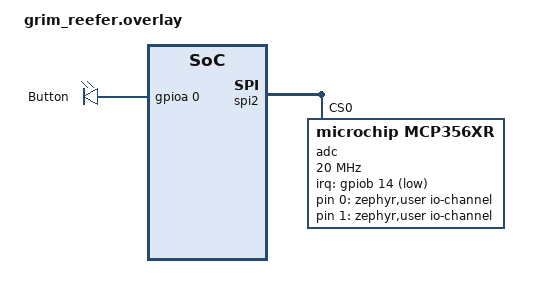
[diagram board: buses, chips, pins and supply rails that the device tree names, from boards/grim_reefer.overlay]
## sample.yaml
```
sample:
  description:
  name: solids_board
common:
  build_only: true
  platform_allow:
    - grim_reefer
tests:
  solids_test.default: {}
```

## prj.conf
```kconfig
CONFIG_SENSOR=y
CONFIG_SENSOR_SHELL=y
CONFIG_SPEED_OPTIMIZATIONS=y
CONFIG_SYS_CLOCK_TICKS_PER_SEC=100000

CONFIG_EVENTS=y
CONFIG_BASE64=y

# Logging
CONFIG_LOG=y
CONFIG_LOG_MODE_IMMEDIATE=n
CONFIG_CRC=y

# GPIO and bus enables
CONFIG_GPIO=y
CONFIG_I2C=y
CONFIG_SPI=y
CONFIG_SPI_STM32_DMA=y

# ADC + sensor enables
CONFIG_ADC=y
CONFIG_ADC_LOG_LEVEL_ERR=y # Will spam annoying error at wrn level

CONFIG_ADC_MCP356XR=y
CONFIG_ADC_MCP356XR_THREAD_STACK_SIZE=2048
CONFIG_ADC_MCP356XR_THREAD_PRIORITY=21
CONFIG_INA260=y

CONFIG_SPI_NOR_SFDP_RUNTIME=y
CONFIG_SPI_NOR_SLEEP_ERASE_MS=10

# Flash + file system
CONFIG_FLASH=y
CONFIG_FLASH_MAP=y
CONFIG_FLASH_PAGE_LAYOUT=y
CONFIG_DISK_ACCESS=y
CONFIG_FILE_SYSTEM=y

# Data dumping
CONFIG_SHELL=y
CONFIG_FLASH_SHELL=y
CONFIG_SHELL_BACKEND_SERIAL=y
CONFIG_UART_CONSOLE=y

CONFIG_SERIAL=y
CONFIG_UART_INTERRUPT_DRIVEN=y
CONFIG_CBPRINTF_FP_SUPPORT=y
```

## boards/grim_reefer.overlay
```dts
/delete-node/ &adc;

/ {
    zephyr,user {
        io-channels = <&adc 0>, <&adc 1>;
    };

    aliases {
        adc0 = &adc;
        buzzer = &buzzer;
    };

    leds: leds {
        button: button{ // TX
            gpios = <&gpioa 0 (GPIO_ACTIVE_HIGH | GPIO_PULL_DOWN)>;
            label = "Button";
        };
    };
};

// https://docs.zephyrproject.org/latest/build/dts/api/bindings/clock/pwm-clock.html
// init pwm

&uart4 {
    status = "disabled";
};

&spi2 {
    status = "okay";
    adc: mcp3561@0 { // new and cool driver
        #io-channel-cells = <1>;
        #address-cells = <1>;
        #size-cells = <0>;
        compatible = "microchip,mcp356xr";
        status = "okay";
        reg = <0>;
        address = <1>;
        analog-clock-prescaler = <0>;
        boost-current-bias = <0>;
        spi-max-frequency = <DT_FREQ_M(20)>;
        irq-gpios = <&gpiob 14 GPIO_ACTIVE_LOW>;
        use-internal-clock;

        loadcell: channel@0 {
            reg = <0>;
            zephyr,gain = "ADC_GAIN_32";
            zephyr,reference = "ADC_REF_INTERNAL";
            zephyr,acquisition-time = <ADC_ACQ_TIME_DEFAULT>;

            zephyr,resolution = <24>;

            zephyr,differential;
            zephyr,input-positive = <0x1>;
            zephyr,input-negative = <0x0>;

            zephyr,oversampling = <7>;
        };

        pressure_transducer: channel@1 {
            reg = <1>;
            zephyr,gain = "ADC_GAIN_32";
            zephyr,reference = "ADC_REF_INTERNAL";
            zephyr,acquisition-time = <ADC_ACQ_TIME_DEFAULT>;

            zephyr,resolution = <24>;

            zephyr,differential;
            zephyr,input-positive = <0x0>;
            zephyr,input-negative = <0x8>; // internal ground

            zephyr,oversampling = <7>;
        };

    };
};
```

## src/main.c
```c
#include "adc_reading.h"
#include "flash_storage.h"
#include "buzzer.h"
#include "button.h"
#include "config.h"

#include <zephyr/logging/log.h>
#include <zephyr/init.h>

LOG_MODULE_REGISTER(main, LOG_LEVEL_INF);

// APPLICATION: Executed just before application code (main)
SYS_INIT(buzzer_init, APPLICATION, SYS_INIT_PRIORITY);
SYS_INIT(button_switch_init, APPLICATION, SYS_INIT_PRIORITY);

K_THREAD_DEFINE(adc_thread, 1024, adc_reading_task, NULL, NULL, NULL, 15, 0, THREAD_START_DELAY);
K_THREAD_DEFINE(storage_thread, 2048, flash_storage_thread_entry, NULL, NULL, NULL, STORAGE_THREAD_PRIORITY, 0, 1000);

int main(void) {
	LOG_INF("Solids Test Start");
	LOG_INF("Use 'test start [calibration name]' to begin test");
    LOG_INF("Use 'test help' to see all available commands");
	return 0;
}
```

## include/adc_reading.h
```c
#ifndef ADC_READING_H
#define ADC_READING_H

#include <stdint.h>
#include <stdbool.h>

/**
 * @brief Struct to hold one ADC sample
 */
struct adc_sample {
    uint32_t timestamp; /** Timestamp the sample was recorded in µs */
    int32_t value;      /** Value of the sample */
};

/**
 * @brief Read one ADC sample
 * @param[out] adc_val Pointer to value where sample will be written
 */
void adc_read_one(uint32_t *adc_val);

/**
 * @brief Waits for ADC reading event to start, then reads ADC samples for 10 seconds
 */
void adc_reading_task(void*, void*, void*);

/**
 * @brief Starts test
 * @param[in] terminal_test Whether test was triggered by terminal cmd or meep
 *                      If test was triggered by terminal, ematch will NOT light
 */
void adc_start_reading(bool terminal_test);

/**
 * @brief Stops test
 */
void adc_stop_recording();

#endif // ADC_READING_H
```

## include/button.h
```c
#ifndef BUTTON_H
#define BUTTON_H

#include <zephyr/drivers/gpio.h>
#include <zephyr/device.h>
#include <stdint.h>

/**
 * @brief Configures TX and RX pins as gpio
 * @return 0 if successful
 */
int button_switch_init();

#endif // BUTTON_H
```

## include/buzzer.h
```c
#ifndef BUZZER_H
#define BUZZER_H

/**
 * @brief Configure buzzer and ldo gpio pins
 * @return 0 if successful
 */
int buzzer_init();

/**
 * @brief Start or stop buzzer
 * @param[in] which Value to set buzzer
 */
void set_buzz(int which);

/**
 * @brief Set ematch gpio pin
 * @param[in] level Value to assign to pin
 */
void set_ematch(int level);

/**
 * @brief Set ldo gpio pin
 * @param[in] level Value to assign to pin
 */
void set_ldo(int level);

/**
 * @brief Beep loudly in 1 second intervals for 10 seconds to indicate that flash is full (max tests reached)
 */
void beep_full();

/**
 * @brief Beep loudly 3 times to indicate test start
 */
void test_start_beep();

/**
 * @brief Beep loudly 2 times to indicate test end
 */
void test_end_beep();

/**
 * @brief Beep until test starts
 */
void continuous_beep();

#endif // BUZZER_H
```

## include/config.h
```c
#ifndef CONFIG_H
#define CONFIG_H

#define SAMPLE_RATE 1000
#define TEST_DURATION 10000 // ms
#define MAX_TESTS 30
#define CALIB_NAME_MAX_LEN 32 // If solids members need more than 32 characters then they need better naming standards

#define STORAGE_THREAD_PRIORITY 1
#define THREAD_START_DELAY 100
#define SYS_INIT_PRIORITY 1

#endif // CONFIG_H
```

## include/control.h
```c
#ifndef CONTROL_H
#define CONTROL_H

#include <stdbool.h>
#include <zephyr/shell/shell.h>

/**
 * @brief Starts flash storage and ADC reading
 * @param[in] calib_name Name of calibration to store in flash storage
 * @param[in] terminal_test Whether test was triggered by terminal cmd or meep
 */
void control_start_test(char calib_name[], bool terminal_test);

/**
 * @brief Stops flash storage and ADC reading
 */
void control_stop_test();

/**
 * @brief Reads and prints n number of ADC samples
 * @param[in] shell Pointer to shell instance
 * @param[in] num Number of samples to read
 */
void control_print_n(const struct shell *shell, int num);

/**
 * @brief Dumps all ADC data from flash storage
 * @param[in] shell Pointer to shell instance
 */
void control_dump_data(const struct shell *shell);

/**
 * @brief Dumps one ADC test from flash storage
 * @param[in] shell Pointer to shell instance
 * @param[in] test_index The test number to dump
 */
void control_dump_one(const struct shell *shell, uint32_t test_index);

/**
 * @brief Clear all flash blocks
 * @param[in] shell Pointer to shell instance
 */
void control_erase_all(const struct shell *shell);

/**
 * @brief Set ematch gpio high
 * @param[in] shell Pointer to shell instance
 */
void control_set_ematch(const struct shell *shell);

/**
 * @brief Set ematch gpio low
 * @param[in] shell Pointer to shell instance
 */
void control_stop_ematch(const struct shell *shell);

/**
 * @brief Get status of test
 * @return Whether a test is running or not
 */
bool control_get_test_status();

#endif // CONTROL_H
```

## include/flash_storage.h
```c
#ifndef FLASH_STORAGE_H
#define FLASH_STORAGE_H

#include <zephyr/shell/shell.h>
#include <stdint.h>

/**
 * @brief Thread to save test data to flash storage
 */
void flash_storage_thread_entry(void*, void*, void*);

/**
 * @brief Begin flash storage event
 * @param[in] calib_name Name of calibration to store. Defaults to "Test [#]" if empty or default string passed in
 * @param[in] terminal_test Whether test was triggered by terminal cmd or meep
 * @return 0 if successful
 */
int start_flash_storage(char calib_name[], bool terminal_test);

/**
 * @brief End flash storage event
 */
void stop_flash_storage();

/**
 * @brief Dumps one ADC test from flash storage
 * @param[in] shell Pointer to shell instance
 * @param[in] test_index The test number to dump
 * @return 0 if successful
 */
int flash_dump_one(const struct shell *shell, uint32_t test_index);

/**
 * @brief Dumps all ADC data from flash storage
 * @param[in] shell Pointer to shell instance
 * @return 0 if successful
 */
int flash_dump_all(const struct shell *shell);

/**
 * @brief Clear all flash blocks
 * @param[in] shell Pointer to shell instance
 * @return 0 if successful
 */
int flash_erase_all(const struct shell *shell);

/**
 * @brief Get the channel number stored in flash
 * @return the index of the ADC channel that this device was configured with
 */
uint8_t flash_get_metadata_channel();
int flash_set_channel(uint8_t channel_num);
extern struct k_msgq storage_control_queue;

#endif // FLASH_STORAGE_H
```

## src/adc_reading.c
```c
#include "adc_reading.h"

#include "buzzer.h"
#include "config.h"
#include "control.h"
#include "flash_storage.h"

#include <stdbool.h>
#include <stdint.h>
#include <stdio.h>
#include <zephyr/devicetree.h>
#include <zephyr/drivers/adc.h>
#include <zephyr/kernel.h>
#include <zephyr/logging/log.h>

LOG_MODULE_REGISTER(adc_reader, LOG_LEVEL_INF);

#define ADC_NODE DT_ALIAS(adc0)

#if !DT_NODE_HAS_STATUS(ADC_NODE, okay)
#error "No ADC node found"
#endif

static const struct device *adc_dev = DEVICE_DT_GET(ADC_NODE);

extern struct k_msgq adc_data_queue;

#define BEGIN_READING_EVENT 1
#define STOP_READING_EVENT  2

static K_EVENT_DEFINE(adc_control_event);
static K_TIMER_DEFINE(adc_timer, NULL, NULL);

void adc_reading_task(void *, void *, void *);

static uint32_t adc_buffer;
static struct adc_sequence sequence = {.buffer = &adc_buffer, .buffer_size = sizeof(adc_buffer), .resolution = 24};
static bool terminal = true;

#define DT_SPEC_AND_COMMA(node_id, prop, idx) ADC_DT_SPEC_GET_BY_IDX(node_id, idx),

static const struct adc_dt_spec adc_channels[] = {
    DT_FOREACH_PROP_ELEM(DT_PATH(zephyr_user), io_channels, DT_SPEC_AND_COMMA)};

static const uint32_t num_channels = sizeof(adc_channels) / sizeof(struct adc_dt_spec);

int adc_init(uint8_t channel_num) {
    if (channel_num >= num_channels){
        LOG_ERR("Invalid channel");
        return -1;
    }
    const struct adc_dt_spec *selected_channel = &adc_channels[channel_num];

    if (!adc_is_ready_dt(selected_channel)) {
        LOG_ERR("ADC controller device %s not ready\n", selected_channel->dev->name);
        return -1;
    }

    int err = adc_channel_setup_dt(selected_channel);
    if (err < 0) {
        LOG_ERR("Could not setup channel (%d)\n", err);
        return -1;
    }

    (void) adc_sequence_init_dt(selected_channel, &sequence);

    LOG_INF("ADC initialized");
    return 0;
}

void adc_read_one(uint32_t *adc_val) {
    sequence.buffer = adc_val;
    sequence.buffer_size = sizeof(*adc_val);

    int ret = adc_read(adc_dev, &sequence);
    if (ret < 0) {
        LOG_ERR("ADC read failed (%d)", ret);
        return;
    }
}

void adc_reading_task(void *, void *, void *) {
    uint32_t adc_val = 0;
    struct adc_sample sample = {0};
    while (true) {
        LOG_INF("ADC reading task waiting to start...");

        // Wait for start event
        k_event_wait(&adc_control_event, BEGIN_READING_EVENT, true, K_FOREVER);

        uint8_t channel = flash_get_metadata_channel();
        adc_init(channel);
        LOG_INF("ADC reading started");
        set_ldo(1);
        // Delay test 2 seconds, beep when test actually starts
        k_msleep(2000);
        test_start_beep();

        k_timer_start(&adc_timer, K_USEC(SAMPLE_RATE), K_USEC(SAMPLE_RATE));

        int x = 0;
        uint32_t dropped_samples = 0;
        uint64_t total_adc_ticks = 0;
        uint64_t total_loop_ticks = 0;
        uint32_t num_missed_expires = 0;
        uint64_t start_time_ticks = k_uptime_ticks();

        while (true) {
            uint32_t start_loop_ticks = k_uptime_ticks();
            uint32_t events =
                k_event_wait(&adc_control_event, BEGIN_READING_EVENT | STOP_READING_EVENT, false, K_NO_WAIT);
            if (events & STOP_READING_EVENT) {
                break;
            }

            uint32_t num_expiries = k_timer_status_get(&adc_timer);
            if (num_expiries == 0) { // timer still running
                k_timer_status_sync(&adc_timer);
            } else { // timer expired
                num_missed_expires += num_expiries - 1;
            }

            // Only set off ematch if test is triggered by meep
            if (!terminal) {
                if (x == 500) {
                    set_ematch(1);
                } else if (x == 900) {
                    set_ematch(0);
                }
            }

            // Read from ADC
            uint32_t start_read = k_uptime_ticks();
            adc_read_one(&adc_val);
            total_adc_ticks += k_uptime_ticks() - start_read;

            sample.timestamp = k_ticks_to_us_near32(k_uptime_ticks() - start_time_ticks);
            sample.value = adc_val;

            if (k_msgq_put(&adc_data_queue, &sample, K_NO_WAIT) != 0) {
                dropped_samples++;
            }
            x++;
            total_loop_ticks += k_uptime_ticks() - start_loop_ticks;

            // Stop test after 10 seconds
            if ((k_ticks_to_ms_near32(k_uptime_ticks()) - k_ticks_to_ms_near32(start_time_ticks)) >= TEST_DURATION) {
                control_stop_test();
                break;
            }
        }

        set_ldo(0);
        k_timer_stop(&adc_timer);
        LOG_INF("number of samples: %d, %u missed, %u dropped, read time %llu, ms per = %.2f, loop time: %llu, loop "
                "time ticks: %llu",
                x, num_missed_expires, dropped_samples, k_ticks_to_ms_near64(total_adc_ticks),
                (double) k_ticks_to_ms_near64(total_adc_ticks) / (double) x, k_ticks_to_ms_near64(total_loop_ticks),
                total_loop_ticks);
        test_end_beep();
    }
}

void adc_start_reading(bool terminal_test) {
    terminal = terminal_test; // Whether test was triggered by terminal command or meep
    k_event_set(&adc_control_event, BEGIN_READING_EVENT);
}

void adc_stop_recording() { k_event_set(&adc_control_event, STOP_READING_EVENT); }
```

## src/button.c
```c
#include "button.h"
#include "control.h"
#include "buzzer.h"

#include <stdbool.h>
#include <zephyr/drivers/gpio.h>
#include <zephyr/device.h>
#include <zephyr/logging/log.h>
#include <zephyr/shell/shell.h>
#include <stdint.h>

LOG_MODULE_REGISTER(button, LOG_LEVEL_INF);

// button = tx, key switch = rx
#define BUTTON_NODE DT_NODELABEL(button)
static const struct gpio_dt_spec button = GPIO_DT_SPEC_GET(BUTTON_NODE, gpios);

void buzzer_task(void*, void*, void*);
void button_pressed(const struct device *dev, struct gpio_callback *cb, uint32_t pins);

static struct gpio_callback button_cb_data;

static bool buzzing = false;

int button_switch_init() {
    int ret = gpio_pin_configure_dt(&button, GPIO_INPUT);
    if (ret < 0) {
        LOG_ERR("Failed to conf button (tx) :(");
        return -1;
    }

    if (!gpio_is_ready_dt(&button)) {
		LOG_ERR("Error: button device %s is not ready\n", button.port->name);
        return -1;
	}

	ret = gpio_pin_interrupt_configure_dt(&button, GPIO_INT_EDGE_TO_ACTIVE);
	if (ret != 0) {
		LOG_ERR("Error %d: failed to configure interrupt on %s pin %d\n", ret, button.port->name, button.pin);
        return -1;
	}

	gpio_init_callback(&button_cb_data, button_pressed, BIT(button.pin));
	gpio_add_callback(button.port, &button_cb_data);

    return 0;
}

void button_pressed(const struct device *dev, struct gpio_callback *cb, uint32_t pins) {
	LOG_INF("Starting test...");
	control_start_test("", false);
}


void buzzer_task(void*, void*, void*) {
    while (true) {
        if (buzzing && !control_get_test_status()) {
            continuous_beep();
        } else {
            set_buzz(0);
            k_msleep(50);
        }
    }
}
```

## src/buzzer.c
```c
#include "buzzer.h"
#include "control.h"

#include <zephyr/drivers/gpio.h>
#include <zephyr/kernel.h>
#include <zephyr/logging/log.h>

LOG_MODULE_REGISTER(buzzer, LOG_LEVEL_INF);

#define LDO_EN_NODE DT_NODELABEL(ldo_enable)
#define CAM_EN_NODE DT_NODELABEL(cam_enable)

const struct gpio_dt_spec ldo_enable = GPIO_DT_SPEC_GET(LDO_EN_NODE, gpios);
static const struct gpio_dt_spec buzzer = GPIO_DT_SPEC_GET(DT_ALIAS(buzzer), gpios);
static const struct gpio_dt_spec ematch = GPIO_DT_SPEC_GET(CAM_EN_NODE, gpios);

static bool test_running = false;

int buzzer_init() {
    int ret = gpio_pin_configure_dt(&buzzer, GPIO_OUTPUT_INACTIVE);
    if (ret < 0) {
        LOG_ERR("Failed to conf buzzer pin :(");
        return -1;
    }

    ret = gpio_pin_configure_dt(&ldo_enable, GPIO_OUTPUT_INACTIVE);
    if (ret < 0) {
        LOG_ERR("Failed to conf ldo enable pin :(");
        return -1;
    }

    ret = gpio_pin_configure_dt(&ematch, GPIO_OUTPUT_INACTIVE);
    if (ret < 0) {
        LOG_ERR("Failed to conf ematch pin :(");
        return -1;
    }
    
    return 0;
}

void set_buzz(int which) {
    gpio_pin_set_dt(&ldo_enable, which);
    gpio_pin_set_dt(&buzzer, which);
}

void set_ldo(int level) {
    gpio_pin_set_dt(&ldo_enable, level);
}

void set_ematch(int level) {
    gpio_pin_set_dt(&ematch, level);
}

void beep_full() {
    for (int i = 0; i < 10; i++) {
        set_buzz(1);
        k_msleep(1000);
        set_buzz(0);
        k_msleep(1000);
    }
}

void test_start_beep() {
    for (int i = 0; i < 3; i++) {
        set_buzz(1);
        k_msleep(100);
        set_buzz(0);
        k_msleep(100);
    }
}

void test_end_beep() {
    set_buzz(1);
    k_msleep(100);
    set_buzz(0);
    k_msleep(100);
    set_buzz(1);
    k_msleep(1000);
    set_buzz(0);
}

void continuous_beep() {
    while (!test_running) {
        set_buzz(1);
        k_msleep(10);
        test_running = control_get_test_status();
    }
    set_buzz(0);
}
```

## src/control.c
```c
#include "control.h"
#include "adc_reading.h"
#include "buzzer.h"
#include "config.h"
#include "flash_storage.h"

#include <stdbool.h>
#include <stdint.h>
#include <string.h>
#include <zephyr/kernel.h>
#include <zephyr/logging/log.h>
#include <zephyr/shell/shell.h>

LOG_MODULE_REGISTER(control, LOG_LEVEL_INF);

static bool test_running = false;
static char curr_name[CALIB_NAME_MAX_LEN];

void control_start_test(char calib_name[], bool terminal_test) {
    // If string is empty, get calibration name from last named test - name will stay until new one is passed in
    // Default name will be set in flash_storage if no name specified in shell_cmd
    if (calib_name && calib_name[0] != '\0') {
        memcpy(curr_name, calib_name, sizeof(curr_name));
    }

    if (test_running) {
        LOG_WRN("Test already running");
        return;
    }

    test_running = true;

    start_flash_storage(curr_name, terminal_test);
    adc_start_reading(terminal_test);
}

void control_stop_test() {
    if (!test_running) {
        LOG_WRN("No test running");
        return;
    }

    LOG_INF("Stopping test...");
    adc_stop_recording();
    stop_flash_storage();
    test_running = false;
}

void control_print_n(const struct shell *shell, int num) {
    set_ldo(1);
    k_msleep(5000);
    uint32_t adc_val = 0;
    uint32_t start = k_uptime_ticks();
    
    for (int i = 0; i < num; i++) {
        adc_read_one(&adc_val);
        uint32_t t = k_uptime_ticks() - start;
        shell_print(shell, "%u, %d", k_ticks_to_us_near32(t), adc_val);
        k_msleep(1);
    }
    set_ldo(0);
}

void control_dump_data(const struct shell *shell) { flash_dump_all(shell); }

void control_dump_one(const struct shell *shell, uint32_t test_index) { flash_dump_one(shell, test_index); }

void control_erase_all(const struct shell *shell) { flash_erase_all(shell); }

void control_set_ematch(const struct shell *shell) {
    set_ematch(1);
    shell_print(shell, "Ematch enabled");
}

void control_stop_ematch(const struct shell *shell) {
    set_ematch(0);
    shell_print(shell, "Ematch disabled");
}

bool control_get_test_status() {
    return test_running;
}
```

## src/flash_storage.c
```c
#include "flash_storage.h"
#include "adc_reading.h"
#include "buzzer.h"
#include "config.h"

#include <stdbool.h>
#include <stdint.h>
#include <string.h>
#include <stdlib.h>
#include <stdalign.h>
#include <zephyr/device.h>
#include <zephyr/drivers/flash.h>
#include <zephyr/kernel.h>
#include <zephyr/logging/log.h>
#include <zephyr/shell/shell.h>

LOG_MODULE_REGISTER(flash_storage, LOG_LEVEL_INF);

#define SPI_FLASH_ADDR       0x00000000
#define FLASH_METADATA_ADDR  SPI_FLASH_ADDR
#define PAGE_SIZE            256
#define SAMPLE_PER_PAGE      (PAGE_SIZE / sizeof(struct adc_sample))
#define SPI_FLASH_BLOCK_SIZE (64 * 2048) // 128KB
#define FLASH_METADATA_SIZE  (4 * 1024)  // 4KB
#define SPI_FLASH_START_ADDR (FLASH_METADATA_ADDR + FLASH_METADATA_SIZE)

enum storage_event { SET_CHANNEL_0, SET_CHANNEL_1, BEGIN_STORAGE, END_STORAGE };

K_MSGQ_DEFINE(storage_control_queue, sizeof(enum storage_event), 5, 1);

K_MSGQ_DEFINE(adc_data_queue, sizeof(struct adc_sample), 1000, alignof(struct adc_sample));

struct Metadata{
    uint32_t current_test_number;
    uint8_t channel_num;
    uint8_t dummy[3];
};

static const struct device *flash_dev = DEVICE_DT_GET(DT_ALIAS(storage));
static struct Metadata metadata = {0};
static off_t current_write_addr = 0;
static char test_type[] = "terminal";

void flash_storage_thread_entry(void*, void*, void*);

static char calibration[CALIB_NAME_MAX_LEN];

// Check if flash block is all 0xFF
static bool flash_block_is_empty(off_t addr) {
    uint8_t buf[16];
    if (flash_read(flash_dev, addr, buf, sizeof(buf)) < 0) {
        LOG_ERR("Flash read failed");
        return false;
    }

    for (int i = 0; i < sizeof(buf); i++) {
        if (buf[i] != 0xFF) {
            return false;
        }
    }
    return true;
}

// Get and update current test number
static void load_metadata() {
    struct Metadata meta = {0};
    
    if (flash_read(flash_dev, FLASH_METADATA_ADDR, &meta, sizeof(struct Metadata)) < 0) {
        LOG_ERR("Failed to read metadata");
        // load defaults
        metadata.current_test_number = meta.current_test_number;
        metadata.channel_num = meta.channel_num;
        return;
    }

    // If all are erased (0xFF), assume no tests yet and channel 0
    if (meta.current_test_number == 0xFFFFFFFF && meta.channel_num == 0xFF && meta.dummy[0] == 0xFF && meta.dummy[1] == 0xFF && meta.dummy[2] == 0xFF) {
        // load defaults
        metadata.current_test_number = 0;
        metadata.channel_num = 0;
    } else {
        metadata = meta;
    }

    LOG_INF("Next test: %d - Channel: %d", metadata.current_test_number, metadata.channel_num);
}

static void save_metadata() {
    int ret = flash_erase(flash_dev, FLASH_METADATA_ADDR, FLASH_METADATA_SIZE);

    if (ret < 0) {
        LOG_ERR("flash_erase(metadata) failed: %d", ret);
        return;
    }

    ret = flash_write(flash_dev, FLASH_METADATA_ADDR, &metadata, sizeof(metadata));

    if (ret < 0) {
        LOG_ERR("flash_write(metadata) failed: %d", ret);
    }

    LOG_INF("Next test: %d - Channel: %d", metadata.current_test_number, metadata.channel_num);
}

static off_t get_test_block_addr(uint32_t test_index) {
    return (off_t) (SPI_FLASH_START_ADDR + (test_index * SPI_FLASH_BLOCK_SIZE));
}

void flash_storage_thread_entry(void*, void*, void*) {
    enum storage_event event;

    if (!device_is_ready(flash_dev)) {
        LOG_ERR("Flash device not ready");
        return;
    }

    load_metadata();

    while (true) {
        // Wait for start command
        k_msgq_get(&storage_control_queue, &event, K_FOREVER);
        if (event != BEGIN_STORAGE) continue;

        if (metadata.current_test_number >= MAX_TESTS) {
            LOG_ERR("Maximum number of tests reached!");
            beep_full();
            continue;
        }

        off_t test_block_addr = get_test_block_addr(metadata.current_test_number);
        LOG_INF("Starting test %u at addr 0x%08lx", metadata.current_test_number, (long) test_block_addr);

        // Erase block
        int ret = flash_erase(flash_dev, test_block_addr, SPI_FLASH_BLOCK_SIZE);
        if (ret < 0) {
            LOG_ERR("flash_erase(test block) failed: %d", ret);
            continue;
        }

        current_write_addr = test_block_addr;

        // Save calibration name and test type (terminal or meep)
        flash_write(flash_dev, current_write_addr, calibration, CALIB_NAME_MAX_LEN);
        current_write_addr += CALIB_NAME_MAX_LEN;

        flash_write(flash_dev, current_write_addr, test_type, sizeof(test_type));
        current_write_addr += sizeof(test_type);

        static struct adc_sample page[SAMPLE_PER_PAGE] = {0};
        size_t i = 0;
        size_t pages = 0;

        while (true) {
            if (k_msgq_get(&storage_control_queue, &event, K_NO_WAIT) == 0 && event == END_STORAGE) {
                LOG_INF("Test %d complete", metadata.current_test_number);
                metadata.current_test_number++;
                save_metadata();
                break;
            }
            struct adc_sample *target = &page[i % SAMPLE_PER_PAGE];
            if (k_msgq_get(&adc_data_queue, target, K_MSEC(50)) == 0) {
                i++;
            }
            if (i % SAMPLE_PER_PAGE == 0 && i != 0) {
                int ret = flash_write(flash_dev, current_write_addr, page, PAGE_SIZE);
                if (ret < 0) {
                    LOG_ERR("Flash write failed (%d)", ret);
                } else {
                    current_write_addr += PAGE_SIZE;
                    pages++;
                }
            }
        }
        size_t j = i % SAMPLE_PER_PAGE;
        while (j < SAMPLE_PER_PAGE) {
            page[j] = (struct adc_sample) {0xFFFFFFFF, 0xFFFFFFFF};
            j++;
        }
        ret = flash_write(flash_dev, current_write_addr, page, PAGE_SIZE);
        if (ret < 0) {
            LOG_ERR("Final page flash write failed (%d)", ret);
        } else {
            current_write_addr += PAGE_SIZE;
            pages++;
        }

        LOG_INF("Saved %u packets to %u pages", i, pages);
    }
}

int start_flash_storage(char calib_name[], bool terminal_test) {
    // Set calibration name
    int res1 = strcmp(calib_name, "default");
    int res2 = strcmp(calib_name, "");
    if (res1 == 0 || res2 == 0) {
        snprintf(calibration, sizeof(calibration), "Test %u", metadata.current_test_number);
    } else {
        snprintf(calibration, sizeof(calibration), "%s", calib_name);
    }

    if (!terminal_test) {
        snprintf(test_type, sizeof(test_type), "meep");
    }

    enum storage_event event = BEGIN_STORAGE;
    return k_msgq_put(&storage_control_queue, &event, K_FOREVER);
}

void stop_flash_storage() {
    enum storage_event event = END_STORAGE;
    k_msgq_put(&storage_control_queue, &event, K_FOREVER);
}

int flash_list(const struct shell *shell){
    for (int i = 0; i < metadata.current_test_number){
       read metadata, print metadta
       maybe save channel as well, maybe as 0/1 or as double-ended, single-ended 
    }
}
// 
// 1, test1name_LC, terminal
// 2, test1name_LC, meep
// 3, test2name_LC, terminal
// 4, test2name_LC, meep

int flash_dump_one(const struct shell *shell, uint32_t test_index) {
    if (test_index >= MAX_TESTS ){
        shell_print(shell, "Pick a valid test [0-%d]", MAX_TESTS - 1);
        return -1;
    }
    struct adc_sample sample;

    if (!device_is_ready(flash_dev)) {
        shell_error(shell, "Flash not ready");
        return -1;
    }

    off_t block_addr = get_test_block_addr(test_index);
    if (flash_block_is_empty(block_addr)) {
        shell_print(shell, "Flash block empty");
        return 0;
    }

    char calib_name[CALIB_NAME_MAX_LEN];
    char local_test_type[sizeof(test_type)];

    flash_read(flash_dev, block_addr, calib_name, sizeof(calib_name));
    block_addr += CALIB_NAME_MAX_LEN;

    flash_read(flash_dev, block_addr, local_test_type, sizeof(local_test_type));
    block_addr += sizeof(local_test_type);

    shell_print(shell, "# ================================\n# Dumping Test #%d", test_index);
    shell_print(shell, "# CALIBRATION: %s", calib_name);
    shell_print(shell, "# Test triggered by %s", local_test_type);
    shell_print(shell, "# timestamp, value\n# ================================");

    for (int i = 0; i < (SPI_FLASH_BLOCK_SIZE / sizeof(sample)); i++) {
        if (flash_read(flash_dev, block_addr, &sample, sizeof(sample)) < 0) {
            shell_print(shell, "Flash read failed");
            break;
        }

        if (sample.value == 0xFFFFFFFF && sample.timestamp == 0xFFFFFFFF) {
            shell_print(shell, "Flash block unwritten. Read %d packets", i);
            break;
        }
        
        shell_print(shell, "%u,%d", sample.timestamp, sample.value);
        block_addr += sizeof(sample);
    }

    return 0;
}

int flash_dump_all(const struct shell *shell) {
    if (!device_is_ready(flash_dev)) {
        shell_error(shell, "Flash not ready");
        return -1;
    }

    for (uint32_t test_index = 0; test_index < MAX_TESTS; test_index++) {
        flash_dump_one(shell, test_index);
    }

    return 0;
}

int flash_erase_all(const struct shell *shell) {
    for (uint32_t i = 0; i < MAX_TESTS; i++) {
        off_t curr_add = get_test_block_addr(i);
        int ret = flash_erase(flash_dev, curr_add, SPI_FLASH_BLOCK_SIZE);
        if (ret < 0) {
            shell_error(shell, "flash_erase failed: %d", ret);
            continue;
        } else {
            shell_print(shell, "Flash block %d erased", i);
        }
    }

    metadata.current_test_number = 0;
    save_metadata();

    return 0;
}

uint8_t flash_get_metadata_channel(){
    return metadata.channel_num;
}
int flash_set_channel(uint8_t channel_num){
    if (channel_num >= 2){
        return -1;
    }

    metadata.channel_num = channel_num;
    save_metadata();
    return 0;
}
```

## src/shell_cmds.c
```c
#include "adc_reading.h"
#include "control.h"
#include "config.h"
#include "flash_storage.h"

#include <stdint.h>
#include <string.h>
#include <stdlib.h>
#include <zephyr/logging/log.h>
#include <zephyr/shell/shell.h>

LOG_MODULE_REGISTER(shell_cmds, LOG_LEVEL_INF);

static int cmd_test_start(const struct shell *shell, size_t argc, char **argv) {
    ARG_UNUSED(argc);
    ARG_UNUSED(argv);

    char calib_name[CALIB_NAME_MAX_LEN] = "default"; // If no name arg, set to default. Name will be set to "Test [#]" in flash_storage
    if (argc >= 2) {
        calib_name[0] = '\0'; // clear "default"
        for (int i = 1; i < argc; i++) {
            snprintf(calib_name + strlen(calib_name), 
                    sizeof(calib_name) - strlen(calib_name), 
                    i == 1 ? "%s" : " %s", argv[i]);
        }
    }

    shell_print(shell, "Starting test...");
    control_start_test(calib_name, true);
    return 0;
}

static int cmd_test_print_one(const struct shell *shell, size_t argc, char **argv) {
    int num = 1;
    if (argc == 2) {
        num = atoi(argv[1]);
    }
    shell_print(shell, "Getting %d sample(s)...", num);
    control_print_n(shell, num);
    return 0;
}

static int cmd_test_stop(const struct shell *shell, size_t argc, char **argv) {
    ARG_UNUSED(argc);
    ARG_UNUSED(argv);
    shell_print(shell, "Stopping test...");
    control_stop_test();
    return 0;
}

static int cmd_test_erase(const struct shell *shell, size_t argc, char **argv) {
    ARG_UNUSED(argc);
    ARG_UNUSED(argv);
    shell_print(shell, "Erasing all test data...");

    control_erase_all(shell);
    return 0;
}

static int cmd_test_dump(const struct shell *shell, size_t argc, char **argv) {
    ARG_UNUSED(argc);
    ARG_UNUSED(argv);

    if (argc == 1) {
        shell_print(shell, "# Dumping all test data...");
        control_dump_data(shell);
    } else if (argc == 2) {
        uint32_t test_num = atoi(argv[1]);
        shell_print(shell, "# Dumping test %u data...", test_num);
        control_dump_one(shell, test_num);
    } else {
        shell_print(shell, "Enter <test dump> or <test dump [number]>");
        return -1;
    }

    return 0;
}

static int cmd_test_ematch(const struct shell *shell, size_t argc, char **argv) {
    ARG_UNUSED(argc);
    ARG_UNUSED(argv);
    shell_print(shell, "Setting ematch...");
    control_set_ematch(shell);
    return 0;
}

static int cmd_test_estop(const struct shell *shell, size_t argc, char **argv) {
    ARG_UNUSED(argc);
    ARG_UNUSED(argv);
    shell_print(shell, "Stopping ematch...");
    control_stop_ematch(shell);
    return 0;
}

static int cmd_test_set_channel(const struct shell *shell, size_t argc, char **argv) {
    if (argc != 2){
        shell_error(shell, "usage: test set_channel X. 0 = double ended, 1 = single ended");
        return -1;
    }
    uint32_t channel = atoi(argv[1]);
    if (channel > 2){
        shell_error(shell, "Only two channels supported");
    }
    flash_set_channel(channel);
    return 0;
}

SHELL_STATIC_SUBCMD_SET_CREATE(sub_test, SHELL_CMD(start, NULL, "Start test. Arg [calibration name]", cmd_test_start),
                               SHELL_CMD(stop, NULL, "Stop test preemptively", cmd_test_stop),
                               SHELL_CMD(dump, NULL, "Dump flash data. Optional arg [test #]", cmd_test_dump),
                               SHELL_CMD(erase, NULL, "Erase all flash data, prepare for new tests", cmd_test_erase),
                               SHELL_CMD(read, NULL, "Read one (or more) samples", cmd_test_print_one),
                               SHELL_CMD(ematch, NULL, "Set ematch high", cmd_test_ematch),
                               SHELL_CMD(estop, NULL, "Set ematch low", cmd_test_estop),
                               SHELL_CMD(set_channel, NULL, "Set the ADC channel", cmd_test_set_channel),
                               SHELL_SUBCMD_SET_END);

SHELL_CMD_REGISTER(test, &sub_test, "Solids Test Board control commands", NULL);
```
